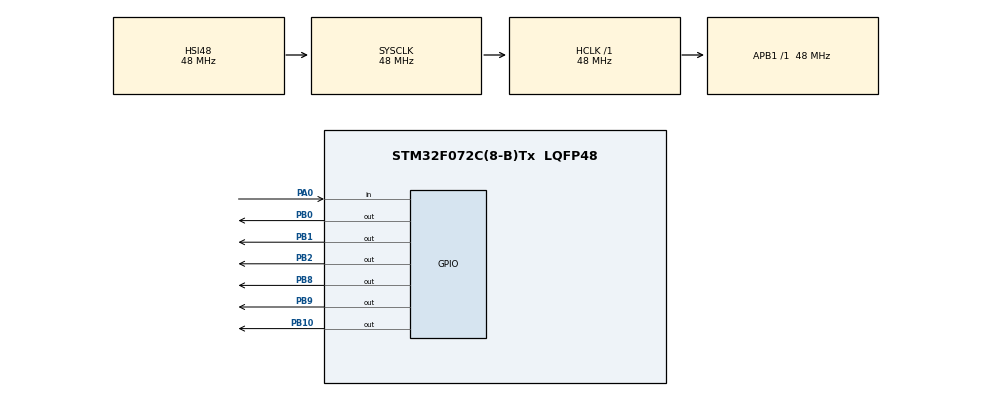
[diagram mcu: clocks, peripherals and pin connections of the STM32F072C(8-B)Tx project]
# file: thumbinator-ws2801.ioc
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Mcu.Family=STM32F0
Mcu.Name=STM32F072C(8-B)Tx
Mcu.Package=LQFP48
PA0.Signal=GPIO_Input
PA13.Mode=Serial_Wire
PA13.Signal=SYS_SWDIO
PA14.Mode=Serial_Wire
PA14.Signal=SYS_SWCLK
PB0.Signal=GPIO_Output
PB1.Signal=GPIO_Output
PB10.Signal=GPIO_Output
PB2.Signal=GPIO_Output
PB8.Signal=GPIO_Output
PB9.Signal=GPIO_Output
PF0-OSC_IN.Mode=HSE-External-Oscillator
PF0-OSC_IN.Signal=RCC_OSC_IN
PF1-OSC_OUT.Mode=HSE-External-Oscillator
PF1-OSC_OUT.Signal=RCC_OSC_OUT
ProjectManager.HeapSize=0x200
ProjectManager.StackSize=0x400
ProjectManager.TargetToolchain=SW4STM32
RCC.AHBFreq_Value=48000000
RCC.APB1Freq_Value=48000000
RCC.APB1TimFreq_Value=48000000
RCC.HCLKFreq_Value=48000000
RCC.SYSCLKFreq_VALUE=48000000
RCC.SYSCLKSource=RCC_SYSCLKSOURCE_HSI48
board=thumbinator-ws2801

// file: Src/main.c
/**
  ******************************************************************************
  * File Name          : main.c
  * Description        : Main program body
  ******************************************************************************
  *
  * COPYRIGHT(c) 2016 STMicroelectronics
  *
  * Redistribution and use in source and binary forms, with or without modification,
  * are permitted provided that the following conditions are met:
  *   1. Redistributions of source code must retain the above copyright notice,
  *      this list of conditions and the following disclaimer.
  *   2. Redistributions in binary form must reproduce the above copyright notice,
  *      this list of conditions and the following disclaimer in the documentation
  *      and/or other materials provided with the distribution.
  *   3. Neither the name of STMicroelectronics nor the names of its contributors
  *      may be used to endorse or promote products derived from this software
  *      without specific prior written permission.
  *
  * THIS SOFTWARE IS PROVIDED BY THE COPYRIGHT HOLDERS AND CONTRIBUTORS "AS IS"
  * AND ANY EXPRESS OR IMPLIED WARRANTIES, INCLUDING, BUT NOT LIMITED TO, THE
  * IMPLIED WARRANTIES OF MERCHANTABILITY AND FITNESS FOR A PARTICULAR PURPOSE ARE
  * DISCLAIMED. IN NO EVENT SHALL THE COPYRIGHT HOLDER OR CONTRIBUTORS BE LIABLE
  * FOR ANY DIRECT, INDIRECT, INCIDENTAL, SPECIAL, EXEMPLARY, OR CONSEQUENTIAL
  * DAMAGES (INCLUDING, BUT NOT LIMITED TO, PROCUREMENT OF SUBSTITUTE GOODS OR
  * SERVICES; LOSS OF USE, DATA, OR PROFITS; OR BUSINESS INTERRUPTION) HOWEVER
  * CAUSED AND ON ANY THEORY OF LIABILITY, WHETHER IN CONTRACT, STRICT LIABILITY,
  * OR TORT (INCLUDING NEGLIGENCE OR OTHERWISE) ARISING IN ANY WAY OUT OF THE USE
  * OF THIS SOFTWARE, EVEN IF ADVISED OF THE POSSIBILITY OF SUCH DAMAGE.
  *
  ******************************************************************************
  */
#include "main.h"
#include "stm32f0xx_hal.h"

/* USER CODE BEGIN PV */
/* Private variables ---------------------------------------------------------*/

/* USER CODE END PV */

void SystemClock_Config(void);
void Error_Handler(void);
static void MX_GPIO_Init(void);

/* USER CODE BEGIN PFP */
/* Private function prototypes -----------------------------------------------*/

/* USER CODE END PFP */

/* USER CODE BEGIN 0 */
static void next_led(void) {
  static int i = 0;
  i = (i + 1) % 16;
  HAL_GPIO_WritePin(GPIOB, GPIO_PIN_0|GPIO_PIN_1|GPIO_PIN_2|GPIO_PIN_10, GPIO_PIN_RESET);
  if (i & 1) HAL_GPIO_WritePin(GPIOB, GPIO_PIN_0, GPIO_PIN_SET);
  if (i & 2) HAL_GPIO_WritePin(GPIOB, GPIO_PIN_1, GPIO_PIN_SET);
  if (i & 4) HAL_GPIO_WritePin(GPIOB, GPIO_PIN_2, GPIO_PIN_SET);
  if (i & 8) HAL_GPIO_WritePin(GPIOB, GPIO_PIN_10, GPIO_PIN_SET);
}

static void ws2801_byte(uint8_t n) {
  uint8_t bitmask;
  for (bitmask = 0x80; bitmask !=0 ; bitmask >>= 1) {
    if (n & bitmask) {
      HAL_GPIO_WritePin(GPIOB, GPIO_PIN_9, GPIO_PIN_SET);
    } else {
      HAL_GPIO_WritePin(GPIOB, GPIO_PIN_9, GPIO_PIN_RESET);
    }
    HAL_GPIO_WritePin(GPIOB, GPIO_PIN_8, GPIO_PIN_SET);
    HAL_GPIO_WritePin(GPIOB, GPIO_PIN_8, GPIO_PIN_RESET);
  }
}

static void ws2801_send(uint8_t *buf, int32_t len) {
  static int32_t i = 0;
  for (i = 0; i < len; i++) {
    uint8_t current = buf[i];
    ws2801_byte(current);
  }
}

static void hsvtorgb(unsigned char *r, unsigned char *g, unsigned char *b, unsigned char h, unsigned char s, unsigned char v)
{
  unsigned char region, fpart, p, q, t;

  if(s == 0) {
    /* color is grayscale */
    *r = *g = *b = v;
    return;
  }

  /* make hue 0-5 */
  region = h / 43;
  /* find remainder part, make it from 0-255 */
  fpart = (h - (region * 43)) * 6;

  /* calculate temp vars, doing integer multiplication */
  p = (v * (255 - s)) >> 8;
  q = (v * (255 - ((s * fpart) >> 8))) >> 8;
  t = (v * (255 - ((s * (255 - fpart)) >> 8))) >> 8;

  /* assign temp vars based on color cone region */
  switch(region) {
    case 0:
      *r = v; *g = t; *b = p; break;
    case 1:
      *r = q; *g = v; *b = p; break;
    case 2:
      *r = p; *g = v; *b = t; break;
    case 3:
      *r = p; *g = q; *b = v; break;
    case 4:
      *r = t; *g = p; *b = v; break;
    default:
      *r = v; *g = p; *b = q; break;
  }

  return;
}

uint8_t framebuffer[100 * 3];

static void render(void) {
  static int count = 0;
  uint8_t r, g, b;
  int i;
  for(i = 0; i < sizeof(framebuffer) / 3; i++) {
    hsvtorgb(&r, &g, &b, (count + i) % 255, 255, 255);
    framebuffer[i*3]   = r;
    framebuffer[i*3+1] = g;
    framebuffer[i*3+2] = b;
  }

  count++;
}

/* USER CODE END 0 */

int main(void)
{

  /* MCU Configuration----------------------------------------------------------*/

  /* Reset of all peripherals, Initializes the Flash interface and the Systick. */
  HAL_Init();

  /* Configure the system clock */
  SystemClock_Config();

  /* Initialize all configured peripherals */
  MX_GPIO_Init();

  /* Infinite loop */
  while (1)
  {

  /* USER CODE BEGIN 3 */
    next_led();
    render();
    ws2801_send(framebuffer, sizeof(framebuffer));
    HAL_Delay(10);

  }
  /* USER CODE END 3 */

}

/** System Clock Configuration
*/
void SystemClock_Config(void)
{

  RCC_OscInitTypeDef RCC_OscInitStruct;
  RCC_ClkInitTypeDef RCC_ClkInitStruct;

    /**Initializes the CPU, AHB and APB busses clocks
    */
  RCC_OscInitStruct.OscillatorType = RCC_OSCILLATORTYPE_HSI48;
  RCC_OscInitStruct.HSI48State = RCC_HSI48_ON;
  RCC_OscInitStruct.PLL.PLLState = RCC_PLL_NONE;
  if (HAL_RCC_OscConfig(&RCC_OscInitStruct) != HAL_OK)
  {
    Error_Handler();
  }

    /**Initializes the CPU, AHB and APB busses clocks
    */
  RCC_ClkInitStruct.ClockType = RCC_CLOCKTYPE_HCLK|RCC_CLOCKTYPE_SYSCLK
                              |RCC_CLOCKTYPE_PCLK1;
  RCC_ClkInitStruct.SYSCLKSource = RCC_SYSCLKSOURCE_HSI48;
  RCC_ClkInitStruct.AHBCLKDivider = RCC_SYSCLK_DIV1;
  RCC_ClkInitStruct.APB1CLKDivider = RCC_HCLK_DIV1;

  if (HAL_RCC_ClockConfig(&RCC_ClkInitStruct, FLASH_LATENCY_1) != HAL_OK)
  {
    Error_Handler();
  }

    /**Configure the Systick interrupt time
    */
  HAL_SYSTICK_Config(HAL_RCC_GetHCLKFreq()/1000);

    /**Configure the Systick
    */
  HAL_SYSTICK_CLKSourceConfig(SYSTICK_CLKSOURCE_HCLK);

  /* SysTick_IRQn interrupt configuration */
  HAL_NVIC_SetPriority(SysTick_IRQn, 0, 0);
}

/** Configure pins as
        * Analog
        * Input
        * Output
        * EVENT_OUT
        * EXTI
*/
static void MX_GPIO_Init(void)
{

  GPIO_InitTypeDef GPIO_InitStruct;

  /* GPIO Ports Clock Enable */
  __HAL_RCC_GPIOF_CLK_ENABLE();
  __HAL_RCC_GPIOA_CLK_ENABLE();
  __HAL_RCC_GPIOB_CLK_ENABLE();

  /*Configure GPIO pin : PA0 */
  GPIO_InitStruct.Pin = GPIO_PIN_0;
  GPIO_InitStruct.Mode = GPIO_MODE_INPUT;
  GPIO_InitStruct.Pull = GPIO_NOPULL;
  HAL_GPIO_Init(GPIOA, &GPIO_InitStruct);

  /*Configure GPIO pins : PB0 PB1 PB2 PB10
                           PB8 PB9 */
  GPIO_InitStruct.Pin = GPIO_PIN_0|GPIO_PIN_1|GPIO_PIN_2|GPIO_PIN_10
                          |GPIO_PIN_8|GPIO_PIN_9;
  GPIO_InitStruct.Mode = GPIO_MODE_OUTPUT_PP;
  GPIO_InitStruct.Pull = GPIO_NOPULL;
  GPIO_InitStruct.Speed = GPIO_SPEED_FREQ_LOW;
  HAL_GPIO_Init(GPIOB, &GPIO_InitStruct);

  /*Configure GPIO pin Output Level */
  HAL_GPIO_WritePin(GPIOB, GPIO_PIN_0|GPIO_PIN_1|GPIO_PIN_2|GPIO_PIN_10
                          |GPIO_PIN_8|GPIO_PIN_9, GPIO_PIN_RESET);

}

void Error_Handler(void)
{
  while(1)
  {
  }
}

/************************ (C) COPYRIGHT STMicroelectronics *****END OF FILE****/
